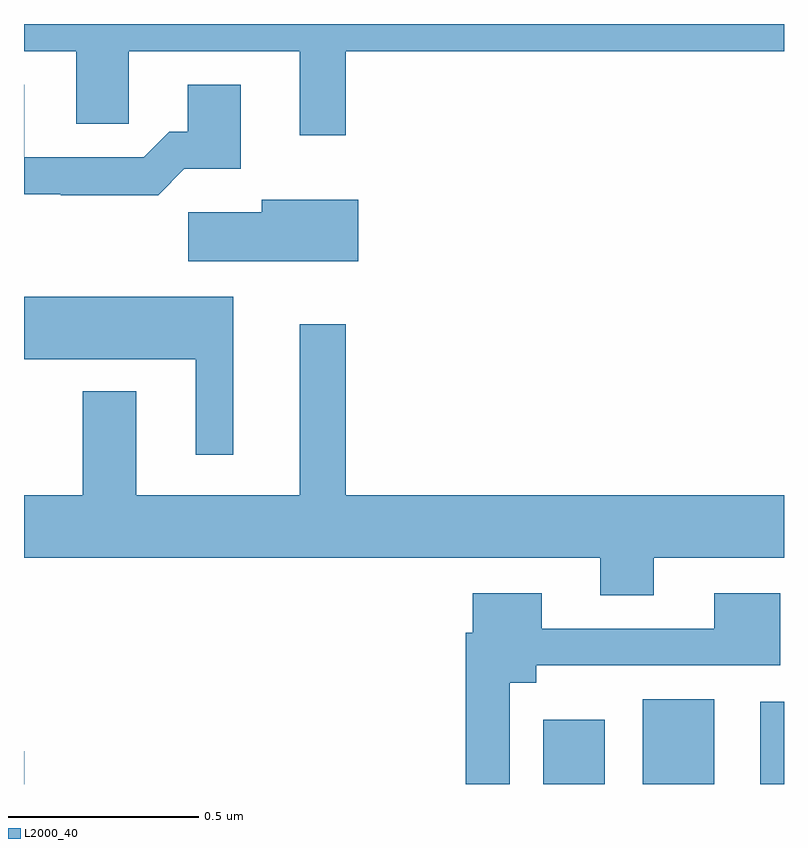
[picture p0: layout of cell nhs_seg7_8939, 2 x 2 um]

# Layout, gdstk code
import gdstk
lib = gdstk.Library(unit=1e-6, precision=1e-09)
def R(c, l, rs):  # rectangles x0, y0, x1, y1
    for r in rs: c.add(gdstk.rectangle(r[:2], r[2:], *l))
def P(c, l, *ps):  # polygons
    for p in ps: c.add(gdstk.Polygon(p, *l))
L2000_40 = (2000, 40)

nhs_seg7_8939 = lib.new_cell('nhs_seg7_8939')
R(nhs_seg7_8939, L2000_40, [(231,1020,231.001,1020.086), (232.367,1020,232.528,1020.169), (232.628,1020,232.816,1020.223), (232.937,1020,233,1020.217)])
P(nhs_seg7_8939, L2000_40, [(231.847,1021.928),(233,1021.928),(233,1022),(231,1022),(231,1021.928),(231.137,1021.928),(231.137,1021.738),(231.276,1021.738),(231.276,1021.928),(231.725,1021.928),(231.725,1021.707),(231.847,1021.707)],
  [(231.422,1021.619),(231.571,1021.619),(231.571,1021.84),(231.431,1021.84),(231.431,1021.717),(231.382,1021.717),(231.315,1021.65),(231.001,1021.65),(231.001,1021.84),(231,1021.84),(231,1021.552),(231.097,1021.552),(231.097,1021.55),(231.353,1021.55)],
  [(231.88,1021.537),(231.626,1021.537),(231.626,1021.505),(231.432,1021.505),(231.432,1021.376),(231.88,1021.376)],
  [(231.55,1021.282),(231,1021.282),(231,1021.118),(231.452,1021.118),(231.452,1020.867),(231.55,1020.867)],
  [(231.725,1021.21),(231.725,1020.76),(231.295,1020.76),(231.295,1021.033),(231.155,1021.033),(231.155,1020.76),(231,1020.76),(231,1020.596),(232.517,1020.596),(232.517,1020.497),(232.657,1020.497),(232.657,1020.596),(233,1020.596),(233,1020.76),(231.847,1020.76),(231.847,1021.21)],
  [(232.278,1020.266),(232.348,1020.266),(232.348,1020.312),(232.99,1020.312),(232.99,1020.502),(232.817,1020.502),(232.817,1020.408),(232.363,1020.408),(232.363,1020.502),(232.181,1020.502),(232.181,1020.398),(232.162,1020.398),(232.162,1020),(232.278,1020)])

lib.write_gds('nhs_seg7_8939.gds')
